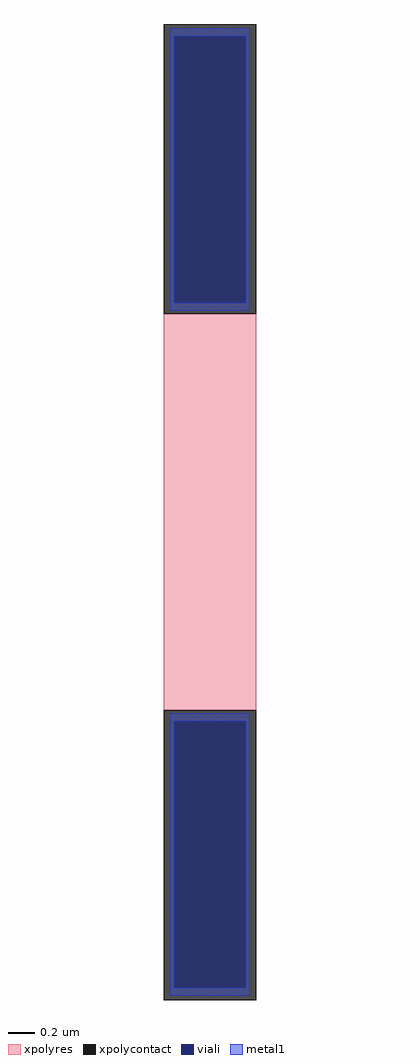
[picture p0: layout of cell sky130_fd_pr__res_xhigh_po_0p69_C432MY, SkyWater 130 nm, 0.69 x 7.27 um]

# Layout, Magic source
magic
tech sky130A
magscale 1 2
<< xpolycontact >>
rect -69 295 69 727
rect -69 -727 69 -295
<< xpolyres >>
rect -69 -295 69 295
<< viali >>
rect -53 312 53 709
rect -53 -709 53 -312
<< metal1 >>
rect -59 709 59 721
rect -59 312 -53 709
rect 53 312 59 709
rect -59 300 59 312
rect -59 -312 59 -300
rect -59 -709 -53 -312
rect 53 -709 59 -312
rect -59 -721 59 -709
<< properties >>
string gencell sky130_fd_pr__res_xhigh_po_0p69
string library sky130
string parameters w 0.69 l 3.105 m 1 nx 1 wmin 0.690 lmin 0.50 rho 2000 val 9.545k dummy 0 dw 0.0 term 188.2 sterm 0.0 caplen 0 wmax 0.690 guard 0 glc 0 grc 0 gtc 0 gbc 0 compatible {sky130_fd_pr__res_xhigh_po_0p35  sky130_fd_pr__res_xhigh_po_0p69 sky130_fd_pr__res_xhigh_po_1p41  sky130_fd_pr__res_xhigh_po_2p85 sky130_fd_pr__res_xhigh_po_5p73} snake 0 full_metal 0 n_guard 0 hv_guard 0 vias 1 viagb 0 viagt 0 viagl 0 viagr 0
string sky130_fd_pr__res_xhigh_po_0p69_C432MY parameters
<< end >>
